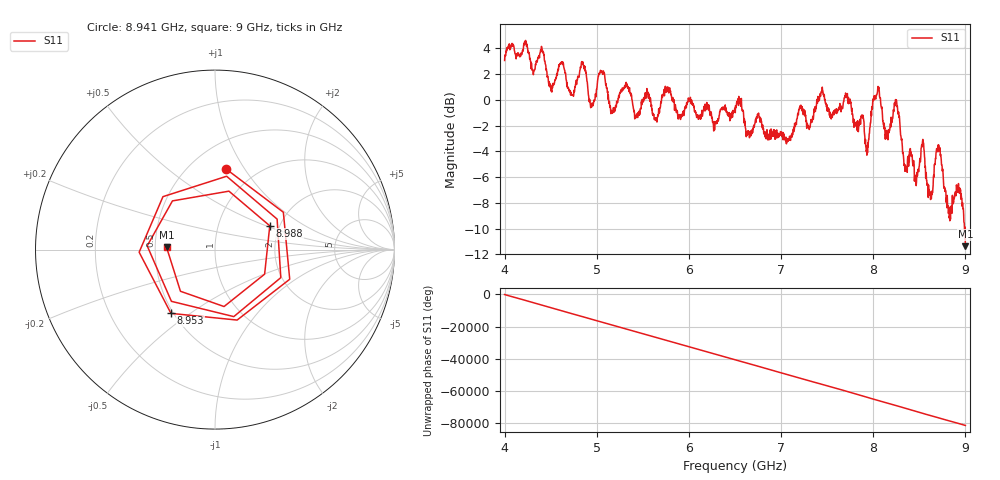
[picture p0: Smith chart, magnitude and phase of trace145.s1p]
! Created with skrf 1.8.0 (http://scikit-rf.org).
# Hz S RI R 50.0
!freq ReS11 ImS11
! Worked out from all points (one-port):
!   1601 points, 4 GHz to 9 GHz, reference 50 ohm
!   lowest |S11| = -11.4 dB at 9 GHz (marker M1), VSWR 1.74, Z = 28.7 + j0.788 ohm
!   |S11| at or under -10 dB: 8.990019 GHz to 8.992844 GHz (2.825 MHz wide, 0.0314 % of centre); 8.994739 GHz to end of sweep
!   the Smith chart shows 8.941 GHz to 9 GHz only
!   S11 on the Smith chart (normalised r, x): 8.941 GHz: 0.74, +0.83; 8.953 GHz: 0.49, -0.42; 8.988 GHz: 1.78, +0.53; 9 GHz: 0.57, +0.02
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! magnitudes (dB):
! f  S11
! 4 GHz  3.1
! 4.406 GHz  3.9
! 4.506 GHz  0.7
! 4.625 GHz  2.8
! 4.725 GHz  0.5
! 4.847 GHz  2.8
! 4.941 GHz  -0.5
! 5.047 GHz  2.3
! 5.162 GHz  -0.8
! 5.25 GHz  0.5
! 5.875 GHz  -0.9
! 6.5 GHz  -0.6
! 7.125 GHz  -2.7
! 7.444 GHz  0.6
! 7.75 GHz  0.0
! 7.931 GHz  -4.3
! 8.041 GHz  0.4
! 8.147 GHz  -3.0
! 8.25 GHz  0.0
! 8.375 GHz  -4.4
! 8.541 GHz  -3.3
! 8.622 GHz  -7.7
! 8.709 GHz  -3.5
! 8.816 GHz  -8.8
! 8.941 GHz  -6.9
! 8.953 GHz  -7.3
! 8.988 GHz  -9.6
! 9 GHz  -11.4
